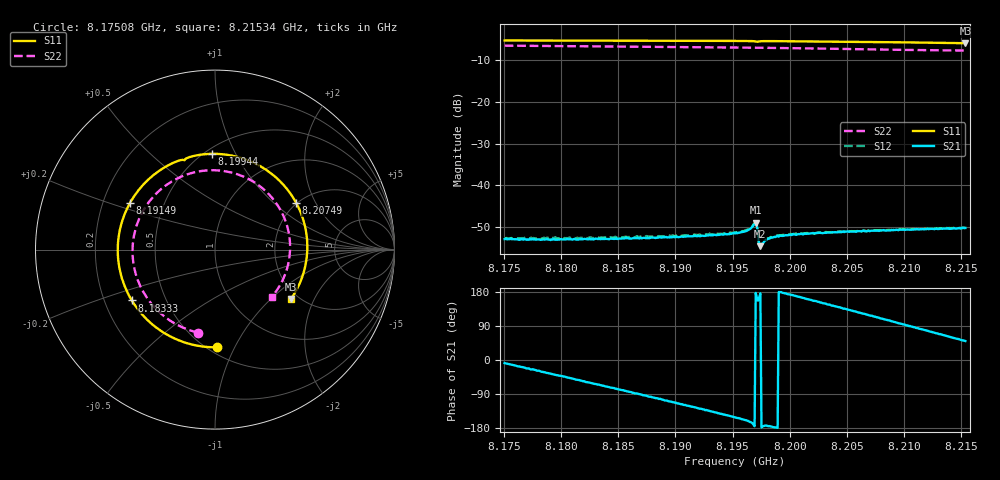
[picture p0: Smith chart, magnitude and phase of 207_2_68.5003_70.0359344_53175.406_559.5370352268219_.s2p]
#  HZ  S  RI  R  50.00
! Rohde & Schwarz Vector Network Analyzer
! Rohde-Schwarz,ZNB20-2Port,1311601062101988,3.16
! Created: UTC 3/20/2024, 4:57:52 PM
! freq[Hz]  re:S11  im:S11  re:S21  im:S21  re:S12  im:S12  re:S22  im:S22
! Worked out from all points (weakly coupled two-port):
!   401 points, 8.17508 GHz to 8.21534 GHz, reference 50 ohm
!   highest |S21| = -48.91 dB at 8.19702 GHz (marker M1); lowest = -54.6 dB at 8.19743 GHz (marker M2)
!   lowest |S11| = -5.9 dB at 8.21534 GHz (marker M3), VSWR 3.04, Z = 91.3 - j67.4 ohm
!   |S11| at or under -10 dB: nowhere
!   |S22| runs from -7.7 to -6.5 dB; largest |S21 - S12| = 0.00019
!   S11 on the Smith chart (normalised r, x): 8.17508 GHz: 0.55, -0.86; 8.18333 GHz: 0.32, -0.25; 8.19149 GHz: 0.32, +0.23; 8.19944 GHz: 0.54, +0.81; 8.20749 GHz: 1.99, +1.41; 8.21534 GHz: 1.83, -1.35
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8.175081e9  0.0136 -0.5443  0.00224 -0.000319  0.00231 -0.000332  -0.096 -0.4619
8.178302e9  -0.2026 -0.505  0.00192 -0.00115  0.00197 -0.00117  -0.2614 -0.3882
8.181824e9  -0.4009 -0.367  0.0013 -0.00185  0.0013 -0.00195  -0.3948 -0.2444
8.183334e9  -0.4635 -0.2832  0.000975 -0.00207  0.00095 -0.00213  -0.4308 -0.1685
8.185951e9  -0.5303 -0.1145  0.000247 -0.00229  0.000208 -0.00239  -0.4593 -0.0264
8.188568e9  -0.5373 0.0673  -0.00053 -0.00232  -0.000608 -0.00239  -0.442 0.1172
8.191487e9  -0.4734 0.2602  -0.00135 -0.00205  -0.00148 -0.00209  -0.3707 0.2618
8.195211e9  -0.2953 0.4493  -0.00232 -0.00127  -0.00246 -0.00121  -0.2133 0.3947
8.196217e9  -0.2325 0.4836  -0.00265 -0.001  -0.00278 -0.000932  -0.1616 0.4168
8.196922e9  -0.1824 0.4999  -0.00345 -0.000316  -0.00352 -0.000169  -0.1237 0.4283
8.197023e9  -0.1749 0.4995  -0.00358 0.000178  -0.00361 0.000331  -0.1181 0.4297
8.197425e9  -0.1587 0.5087  -0.00186 0.000131  -0.00193 0.000204  -0.0962 0.4345
8.197526e9  -0.1515 0.512  -0.00193 -6.19e-05  -0.00199 1.44e-05  -0.0907 0.4358
8.19823e9  -0.1013 0.5252  -0.0023 -0.000227  -0.00232 -0.000105  -0.0511 0.4407
8.199438e9  -0.0156 0.5335  -0.00248 0.000142  -0.00254 0.000226  0.0172 0.4412
8.201955e9  0.1594 0.5062  -0.00246 0.00102  -0.00243 0.00113  0.1562 0.4077
8.204571e9  0.3211 0.4177  -0.00203 0.00189  -0.00196 0.00195  0.2824 0.326
8.20749e9  0.4528 0.2592  -0.00117 0.00261  -0.0011 0.00267  0.3816 0.1872
8.208698e9  0.4873 0.1804  -0.000726 0.00278  -0.000623 0.00285  0.4051 0.1192
8.210309e9  0.5116 0.0682  -4.73e-05 0.00296  2.93e-05 0.00295  0.4183 0.0233
8.211919e9  0.5104 -0.047  0.000611 0.00292  0.000712 0.00292  0.4093 -0.0745
8.215341e9  0.4234 -0.2748  0.00198 0.00236  0.00204 0.00232  0.3158 -0.2642
